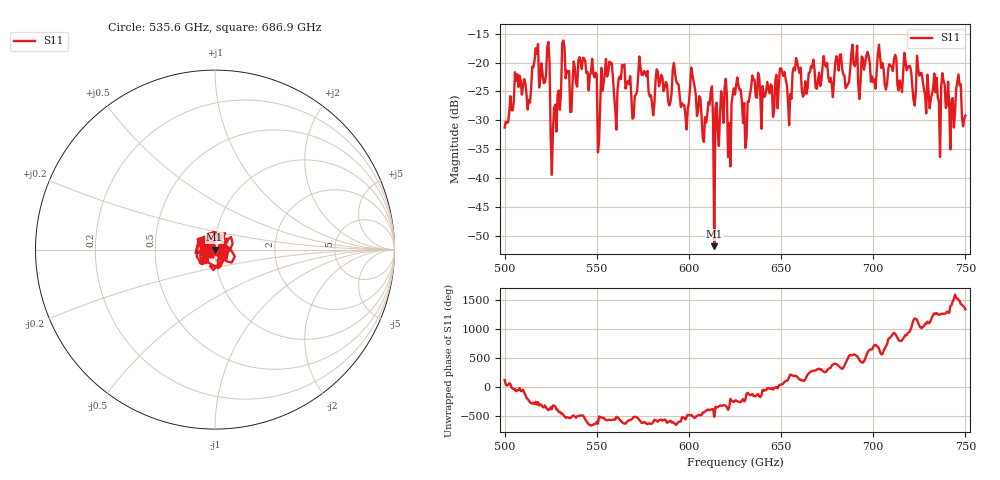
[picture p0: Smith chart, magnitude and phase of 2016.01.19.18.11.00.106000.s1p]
!Created with skrf (http://scikit-rf.org).
# GHz S RI R 50.0
!freq ReS11 ImS11
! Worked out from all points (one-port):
!   401 points, 500 GHz to 750 GHz, reference 50 ohm
!   lowest |S11| = -51.8 dB at 613.8 GHz (marker M1), VSWR 1.01, Z = 49.8 - j0.11 ohm
!   |S11| at or under -10 dB: start of sweep to end of sweep
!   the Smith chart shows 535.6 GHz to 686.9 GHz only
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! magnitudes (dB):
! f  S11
! 500 GHz  -31.2
! 506.9 GHz  -22.0
! 513.1 GHz  -26.5
! 516.9 GHz  -17.5
! 523.1 GHz  -17.3
! 526.2 GHz  -31.5
! 531.2 GHz  -16.6
! 548.8 GHz  -22.5
! 551.9 GHz  -27.4
! 555.6 GHz  -22.4
! 562.5 GHz  -22.4
! 593.8 GHz  -23.7
! 598.1 GHz  -29.2
! 602.5 GHz  -23.2
! 608.1 GHz  -33.7
! 611.2 GHz  -27.3
! 613.8 GHz  -51.8
! 618.8 GHz  -30.4
! 622.5 GHz  -38.0
! 625 GHz  -25.5
! 630.6 GHz  -34.8
! 634.4 GHz  -22.2
! 656.2 GHz  -21.7
! 687.5 GHz  -21.1
! 718.8 GHz  -20.9
! 743.1 GHz  -26.1
! 746.2 GHz  -22.1
! 750 GHz  -29.2
